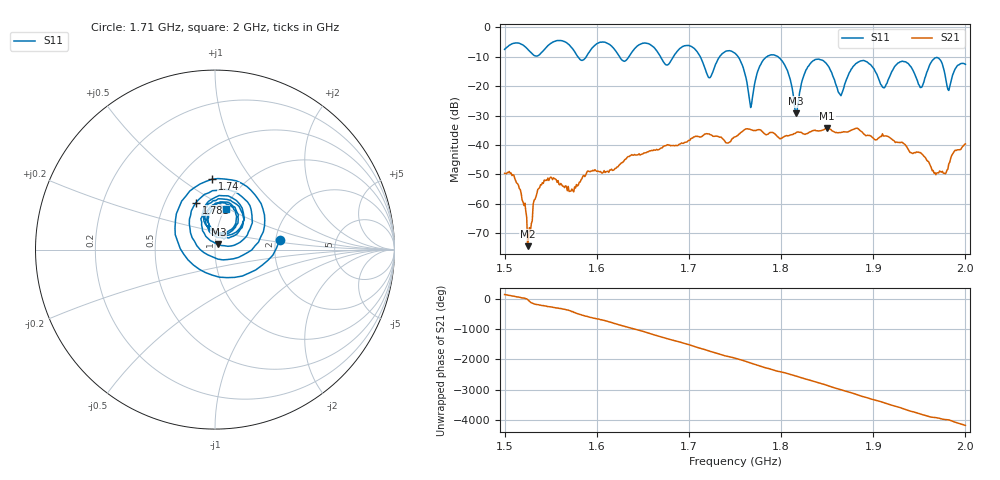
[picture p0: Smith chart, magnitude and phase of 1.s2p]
! NanoVNA-App by SYSJOINT et al v1.1.209 (+OD18)
! Date: 2026-01-21 14:24:36
! Start: 1,5GHz Stop: 2GHz Points: 501
! S-Parameter data: F S11 S21 S12 S22
# Hz S RI R 50
!  Frequency  S11_Real  S11_Imag  S21_Real  S21_Imag  S12_Real  S12_Imag  S22_Real  S22_Imag
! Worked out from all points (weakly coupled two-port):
!   501 points, 1.5 GHz to 2 GHz, reference 50 ohm
!   highest |S21| = -34.19 dB at 1.85 GHz (marker M1); lowest = -74.4 dB at 1.525 GHz (marker M2)
!   lowest |S11| = -29.3 dB at 1.816 GHz (marker M3), VSWR 1.07, Z = 51.9 + j2.98 ohm
!   |S11| at or under -10 dB: 1.712 GHz to 1.733 GHz (21.06 MHz wide, 1.22 % of centre); 1.753 GHz to 1.785 GHz (31.23 MHz wide, 1.77 % of centre); 1.797 GHz to end of sweep (the widest 3 of 6)
!   S12 and S22 are empty: the file has one direction only
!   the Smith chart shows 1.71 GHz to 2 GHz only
!   S11 on the Smith chart (normalised r, x): 1.71 GHz: 2.10, +0.25; 1.74 GHz: 0.71, +0.66; 1.781 GHz: 0.71, +0.40; 2 GHz: 1.02, +0.49
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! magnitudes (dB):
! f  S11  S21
! 1.5 GHz  -7.5  -49.6
! 1.525 GHz  -7.4  -74.4
! 1.543 GHz  -7.6  -51.9
! 1.584 GHz  -11.3  -51.4
! 1.667 GHz  -8.8  -41.6
! 1.71 GHz  -8.8  -37.1
! 1.722 GHz  -17.2  -36.2
! 1.74 GHz  -8.1  -39.2
! 1.75 GHz  -8.8  -37.2
! 1.767 GHz  -27.3  -34.8
! 1.781 GHz  -11.0  -35.9
! 1.802 GHz  -11.8  -37.4
! 1.816 GHz  -29.3  -35.9
! 1.834 GHz  -11.6  -35.2
! 1.85 GHz  -12.7  -34.2
! 1.864 GHz  -22.8  -35.8
! 1.887 GHz  -11.4  -35.4
! 1.917 GHz  -17.3  -37.3
! 1.952 GHz  -20.4  -42.8
! 1.968 GHz  -10.4  -50.1
! 1.982 GHz  -21.5  -46.4
! 2 GHz  -12.6  -39.6
